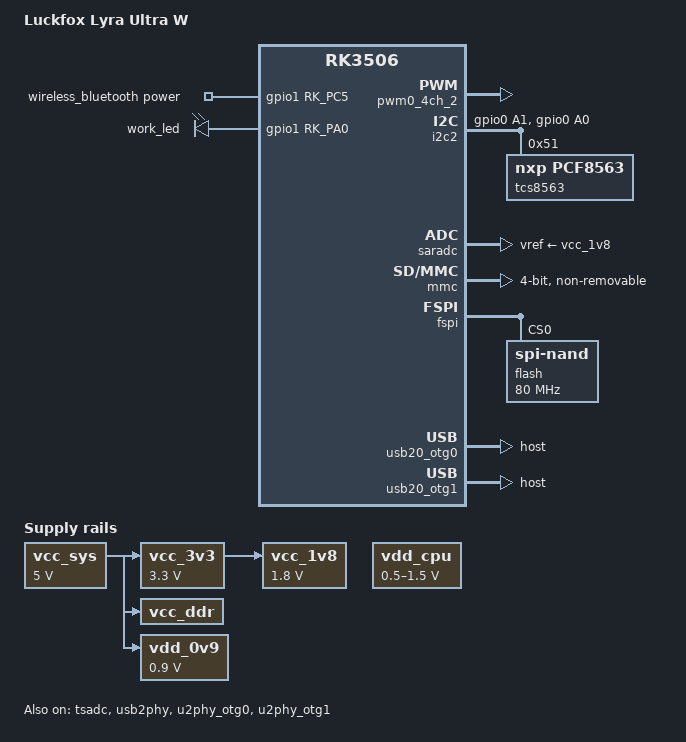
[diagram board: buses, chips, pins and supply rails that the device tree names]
// SPDX-License-Identifier: (GPL-2.0+ OR MIT)
/*
 * Copyright (c) 2024 Rockchip Electronics Co., Ltd.
 */

/dts-v1/;

#include <dt-bindings/pinctrl/rockchip.h>
//#include <dt-bindings/display/drm_mipi_dsi.h>
//#include <dt-bindings/display/rockchip_vop.h>
//#include <dt-bindings/input/rk-input.h>
//#include <dt-bindings/sensor-dev.h>
//#include <dt-bindings/suspend/rockchip-rk3506.h>

#include "rk3506.dtsi"

/ {
	model = "Luckfox Lyra Ultra W";
	compatible = "rockchip,rk3506b-luckfox-lyra-ultra-w", "rockchip,rk3506";

	wireless_bluetooth: wireless-bluetooth {
		compatible = "bluetooth-platdata";
		BT,power_gpio = <&gpio1 RK_PC5 GPIO_ACTIVE_HIGH>;
		status = "okay";
	};

	adc_keys: adc-keys {
		compatible = "adc-keys";
		io-channels = <&saradc 1>;
		io-channel-names = "buttons";
		keyup-threshold-microvolt = <1800000>;
		poll-interval = <100>;
	};

	leds: leds {
		compatible = "gpio-leds";
		work_led: work-led {
			gpios = <&gpio1 RK_PA0 GPIO_ACTIVE_HIGH>;
			linux,default-trigger = "heartbeat";
		};
	};

	vcc_sys: vcc-sys {
		compatible = "regulator-fixed";
		regulator-name = "vcc_sys";
		regulator-always-on;
		regulator-boot-on;
		regulator-min-microvolt = <5000000>;
		regulator-max-microvolt = <5000000>;
	};

	vcc_3v3: vcc-3v3 {
		compatible = "regulator-fixed";
		regulator-name = "vcc_3v3";
		regulator-always-on;
		regulator-boot-on;
		regulator-min-microvolt = <3300000>;
		regulator-max-microvolt = <3300000>;
		vin-supply = <&vcc_sys>;
	};

	vcc_1v8: vcc-1v8 {
		compatible = "regulator-fixed";
		regulator-name = "vcc_1v8";
		regulator-always-on;
		regulator-boot-on;
		regulator-min-microvolt = <1800000>;
		regulator-max-microvolt = <1800000>;
		vin-supply = <&vcc_3v3>;
	};

	/* 1.8V */
	vcc_ddr: vcc-ddr {
		compatible = "regulator-fixed";
		regulator-name = "vcc_ddr";
		regulator-always-on;
		regulator-boot-on;
		vin-supply = <&vcc_sys>;
	};

	vdd_0v9: vdd-0v9 {
		compatible = "regulator-fixed";
		regulator-name = "vdd_0v9";
		regulator-always-on;
		regulator-boot-on;
		regulator-min-microvolt = <900000>;
		regulator-max-microvolt = <900000>;
		vin-supply = <&vcc_sys>;
	};

	vdd_cpu: vdd-cpu {
		compatible = "regulator-fixed";
		regulator-name = "vdd_cpu";
		regulator-boot-on;
		regulator-always-on;
		regulator-min-microvolt = <500000>;
		regulator-max-microvolt = <1500000>;
		vin-supply = <&vdd_cpu>;
	};
};

&cpu0 {
	cpu-supply = <&vdd_cpu>;
};

&cpu1 {
	cpu-supply = <&vdd_cpu>;
};

&cpu2 {
	cpu-supply = <&vdd_cpu>;
};

&pwm0_4ch_2 {
	pinctrl-names = "active";
	pinctrl-0 = <&rm_io15_pwm0_ch2>;
	status = "okay";
};

&i2c2 {
	status = "okay";
	pinctrl-names = "default";
	pinctrl-0 = <&rm_io1_i2c2_scl &rm_io0_i2c2_sda>;

	tcs8563: tcs8563@51 {
		status = "okay";
		compatible = "nxp,pcf8563";
		reg = <0x51>;
		#clock-cells = <0>;
	};
};

&pinctrl {
	rm_io0 {
		rm_io0_i2c2_sda: rm-io0-i2c2-sda {
			rockchip,pins =
				<0 RK_PA0 35 &pcfg_pull_up>;
		};
	};

	rm_io1 {
		rm_io1_i2c2_scl: rm-io1-i2c2-scl {
			rockchip,pins =
				<0 RK_PA1 34 &pcfg_pull_up>;
		};
	};
};

&saradc {
	vref-supply = <&vcc_1v8>;
	status = "okay";
};

&tsadc {
	pinctrl-names = "gpio", "otpout";
	pinctrl-0 = <&wdt_tsadc_gpio>;
	pinctrl-1 = <&rm_io21_wdt_tsadc_shut>;
	status = "okay";
};

&mmc {
	/* For eMMC */
	max-frequency = <52000000>;
	mmc-ddr-1_8v;
	bus-width = <4>;
	supports-emmc;
	cap-mmc-highspeed;
	disable-wp;
	//no-sd;
	//no-sdio;
	non-removable;
	pinctrl-names = "default";
	pinctrl-0 = <&sdmmc_clk_pins &sdmmc_cmd_pins &sdmmc_bus4_pins>;
	status = "okay";
};

&fspi {
	status = "okay";

	flash@0 {
		compatible = "spi-nand";
		reg = <0>;
		spi-max-frequency = <80000000>;
		spi-rx-bus-width = <4>;
		spi-tx-bus-width = <1>;
	};
};

&usb20_otg0 {
	dr_mode = "host";
	status = "okay";
};

&usb20_otg1 {
	dr_mode = "host";
	status = "okay";
};

&usb2phy {
	/* extcon = <&extcon_usb>; */
	status = "okay";
};

&u2phy_otg0 {
	status = "okay";
};

&u2phy_otg1 {
	status = "okay";
};

/* Pinctrl */
&pinctrl {
	tsadc {
		wdt_tsadc_gpio: wdt-tsadc-gpio {
			rockchip,pins = <0 RK_PC5 RK_FUNC_GPIO &pcfg_pull_none>;
		};
	};
};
